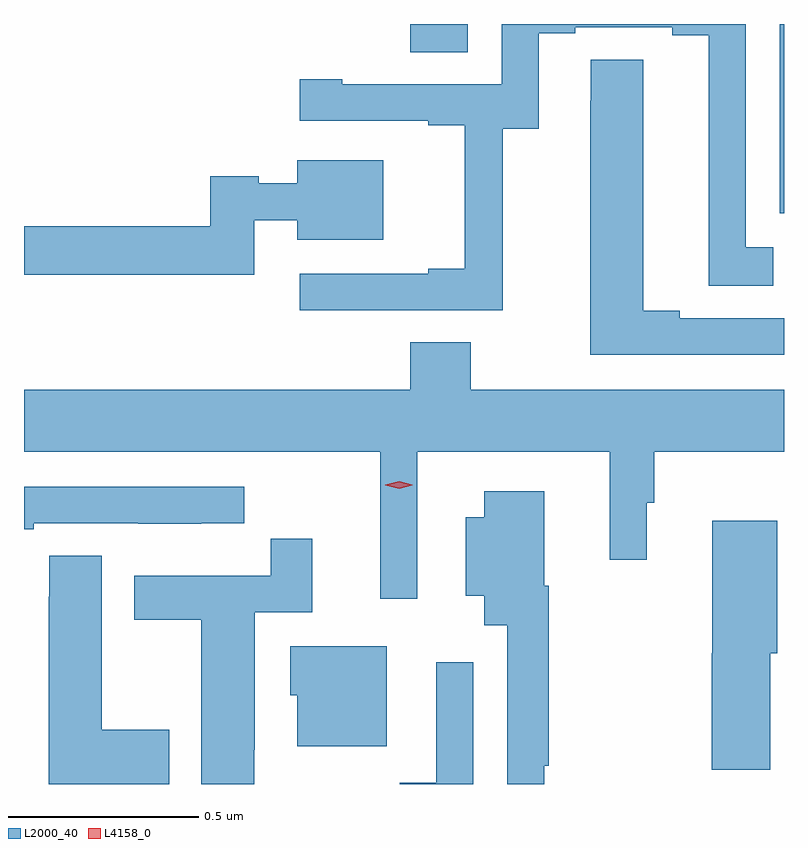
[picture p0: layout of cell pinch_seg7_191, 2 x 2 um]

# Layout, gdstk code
import gdstk
lib = gdstk.Library(unit=1e-6, precision=1e-09)
def R(c, l, rs):  # rectangles x0, y0, x1, y1
    for r in rs: c.add(gdstk.rectangle(r[:2], r[2:], *l))
def P(c, l, *ps):  # polygons
    for p in ps: c.add(gdstk.Polygon(p, *l))
L2000_40 = (2000, 40)
L4158_0 = (4158, 0)

pinch_seg7_191 = lib.new_cell('pinch_seg7_191')
R(pinch_seg7_191, L2000_40, [(1117.68,1017.228,1117.691,1017.725), (1116.707,1017.652,1116.859,1017.726)])
P(pinch_seg7_191, L2000_40, [(1116.951,1017.451),(1117.045,1017.451),(1117.045,1017.702),(1117.141,1017.702),(1117.141,1017.717),(1117.397,1017.717),(1117.397,1017.697),(1117.493,1017.697),(1117.493,1017.037),(1117.663,1017.037),(1117.663,1017.138),(1117.59,1017.138),(1117.59,1017.726),(1116.948,1017.726),(1116.948,1017.567),(1116.529,1017.567),(1116.529,1017.58),(1116.417,1017.58),(1116.417,1017.471),(1116.755,1017.471),(1116.755,1017.459),(1116.851,1017.459),(1116.851,1017.082),(1116.755,1017.082),(1116.755,1017.069),(1116.417,1017.069),(1116.417,1016.973),(1116.951,1016.973)],
  [(1117.691,1016.952),(1117.417,1016.952),(1117.417,1016.972),(1117.321,1016.972),(1117.321,1017.632),(1117.182,1017.632),(1117.182,1017.524),(1117.181,1017.524),(1117.181,1016.856),(1117.691,1016.856)],
  [(1116.297,1017.209),(1116.41,1017.209),(1116.41,1017.158),(1116.637,1017.158),(1116.637,1017.367),(1116.41,1017.367),(1116.41,1017.307),(1116.309,1017.307),(1116.309,1017.326),(1116.181,1017.326),(1116.181,1017.194),(1115.691,1017.194),(1115.691,1017.066),(1116.297,1017.066)],
  [(1116.726,1016.6),(1117.232,1016.6),(1117.232,1016.316),(1117.33,1016.316),(1117.33,1016.466),(1117.349,1016.466),(1117.349,1016.6),(1117.691,1016.6),(1117.691,1016.764),(1116.867,1016.764),(1116.867,1016.888),(1116.707,1016.888),(1116.707,1016.764),(1115.691,1016.764),(1115.691,1016.6),(1116.629,1016.6),(1116.629,1016.214),(1116.726,1016.214)],
  [(1115.716,1016.412),(1115.992,1016.412),(1115.992,1016.411),(1116.158,1016.411),(1116.158,1016.412),(1116.271,1016.412),(1116.271,1016.508),(1115.691,1016.508),(1115.691,1016.397),(1115.716,1016.397)],
  [(1117.06,1015.774),(1117.072,1015.774),(1117.072,1016.248),(1117.06,1016.248),(1117.06,1016.497),(1116.902,1016.497),(1116.902,1016.428),(1116.854,1016.428),(1116.854,1016.222),(1116.902,1016.222),(1116.902,1016.144),(1116.963,1016.144),(1116.963,1015.726),(1117.06,1015.726)],
  [(1117.655,1016.07),(1117.673,1016.07),(1117.673,1016.419),(1117.502,1016.419),(1117.502,1016.07),(1117.501,1016.07),(1117.501,1015.764),(1117.655,1015.764)],
  [(1116.297,1015.816),(1116.298,1015.816),(1116.298,1016.178),(1116.449,1016.178),(1116.449,1016.371),(1116.34,1016.371),(1116.34,1016.274),(1115.981,1016.274),(1115.981,1016.158),(1116.158,1016.158),(1116.158,1015.726),(1116.297,1015.726)],
  [(1116.073,1015.869),(1115.896,1015.869),(1115.896,1016.327),(1115.757,1016.327),(1115.757,1016.219),(1115.756,1016.219),(1115.756,1015.726),(1116.073,1015.726)],
  [(1116.646,1016.089),(1116.392,1016.089),(1116.392,1015.959),(1116.41,1015.959),(1116.41,1015.826),(1116.646,1015.826)],
  [(1116.873,1016.047),(1116.776,1016.047),(1116.776,1015.729),(1116.68,1015.729),(1116.68,1015.726),(1116.873,1015.726)])
P(pinch_seg7_191, L4158_0, [(1116.678,1016.503),(1116.642,1016.512),(1116.642,1016.513),(1116.642,1016.513),(1116.678,1016.523),(1116.713,1016.513),(1116.713,1016.513),(1116.713,1016.512)])

lib.write_gds('pinch_seg7_191.gds')
